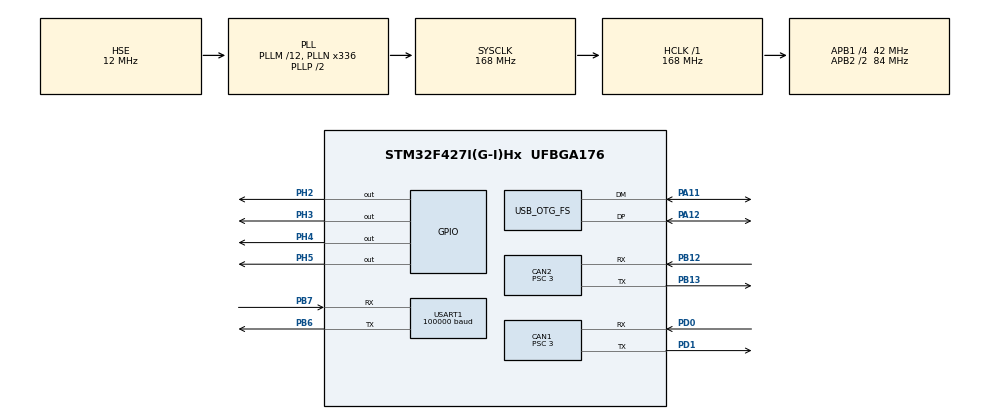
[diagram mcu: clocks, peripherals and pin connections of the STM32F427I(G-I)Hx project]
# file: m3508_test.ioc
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CAN1.BS1=CAN_BS1_10TQ
CAN1.BS2=CAN_BS2_3TQ
CAN1.CalculateBaudRate=1000000
CAN1.CalculateTimeBit=1000
CAN1.CalculateTimeQuantum=71.42857142857143
CAN1.Prescaler=3
CAN2.BS1=CAN_BS1_10TQ
CAN2.BS2=CAN_BS2_3TQ
CAN2.CalculateBaudRate=1000000
CAN2.CalculateTimeBit=1000
CAN2.CalculateTimeQuantum=71.42857142857143
CAN2.Prescaler=3
Dma.Request0=USART1_RX
Dma.USART1_RX.0.Direction=DMA_PERIPH_TO_MEMORY
Dma.USART1_RX.0.FIFOMode=DMA_FIFOMODE_DISABLE
Dma.USART1_RX.0.Instance=DMA2_Stream2
Dma.USART1_RX.0.MemDataAlignment=DMA_MDATAALIGN_BYTE
Dma.USART1_RX.0.MemInc=DMA_MINC_ENABLE
Dma.USART1_RX.0.Mode=DMA_NORMAL
Dma.USART1_RX.0.PeriphDataAlignment=DMA_PDATAALIGN_BYTE
Dma.USART1_RX.0.PeriphInc=DMA_PINC_DISABLE
Dma.USART1_RX.0.Priority=DMA_PRIORITY_HIGH
Mcu.Family=STM32F4
Mcu.Name=STM32F427I(G-I)Hx
Mcu.Package=UFBGA176
NVIC.CAN1_RX0_IRQn=true\:0\:0\:false\:false\:true\:true\:true\:true
NVIC.CAN1_RX1_IRQn=true\:0\:0\:false\:false\:true\:true\:true\:true
NVIC.CAN2_RX0_IRQn=true\:0\:0\:false\:false\:true\:true\:true\:true
NVIC.CAN2_RX1_IRQn=true\:0\:0\:false\:false\:true\:true\:true\:true
NVIC.DMA2_Stream2_IRQn=true\:0\:0\:false\:false\:true\:false\:true\:true
NVIC.OTG_FS_IRQn=true\:0\:0\:false\:false\:true\:false\:true\:true
NVIC.PriorityGroup=NVIC_PRIORITYGROUP_4
NVIC.USART1_IRQn=true\:0\:0\:false\:false\:true\:true\:true\:true
PA11.Mode=Device_Only
PA11.Signal=USB_OTG_FS_DM
PA12.Mode=Device_Only
PA12.Signal=USB_OTG_FS_DP
PA13.Mode=Serial_Wire
PA13.Signal=SYS_JTMS-SWDIO
PA14.Mode=Serial_Wire
PA14.Signal=SYS_JTCK-SWCLK
PB12.Mode=CAN_Activate
PB12.Signal=CAN2_RX
PB13.Mode=CAN_Activate
PB13.Signal=CAN2_TX
PB6.Mode=Asynchronous
PB6.Signal=USART1_TX
PB7.Mode=Asynchronous
PB7.Signal=USART1_RX
PD0.Mode=CAN_Activate
PD0.Signal=CAN1_RX
PD1.Mode=CAN_Activate
PD1.Signal=CAN1_TX
PH0/OSC_IN.Mode=HSE-External-Oscillator
PH0/OSC_IN.Signal=RCC_OSC_IN
PH1/OSC_OUT.Mode=HSE-External-Oscillator
PH1/OSC_OUT.Signal=RCC_OSC_OUT
PH2.GPIO_PuPd=GPIO_PULLUP
PH2.Signal=GPIO_Output
PH3.GPIO_PuPd=GPIO_PULLUP
PH3.Signal=GPIO_Output
PH4.GPIO_PuPd=GPIO_PULLUP
PH4.Signal=GPIO_Output
PH5.GPIO_PuPd=GPIO_PULLUP
PH5.Signal=GPIO_Output
ProjectManager.HeapSize=0x200
ProjectManager.StackSize=0x400
ProjectManager.TargetToolchain=CMake
RCC.48MHZClocksFreq_Value=48000000
RCC.AHBFreq_Value=168000000
RCC.APB1CLKDivider=RCC_HCLK_DIV4
RCC.APB1Freq_Value=42000000
RCC.APB1TimFreq_Value=84000000
RCC.APB2CLKDivider=RCC_HCLK_DIV2
RCC.APB2Freq_Value=84000000
RCC.APB2TimFreq_Value=168000000
RCC.CortexFreq_Value=168000000
RCC.HCLKFreq_Value=168000000
RCC.HSE_VALUE=12000000
RCC.HSI_VALUE=16000000
RCC.LSE_VALUE=32768
RCC.PLLM=12
RCC.PLLN=336
RCC.PLLQ=7
RCC.SYSCLKFreq_VALUE=168000000
RCC.SYSCLKSource=RCC_SYSCLKSOURCE_PLLCLK
RCC.VCOOutputFreq_Value=336000000
USART1.BaudRate=100000
USART1.Parity=PARITY_EVEN
USART1.StopBits=STOPBITS_2
USART1.VirtualMode=VM_ASYNC
USART1.WordLength=WORDLENGTH_9B
USB_DEVICE.CLASS_NAME_FS=CDC
USB_DEVICE.VirtualMode-CDC_FS=Cdc
USB_DEVICE.VirtualModeFS=Cdc_FS
USB_OTG_FS.VirtualMode=Device_Only
VP_USB_DEVICE_VS_USB_DEVICE_CDC_FS.Mode=CDC_FS
board=custom

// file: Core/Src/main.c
/* USER CODE BEGIN Header */
/**
  ******************************************************************************
  * @file           : main.c
  * @brief          : Main program body
  ******************************************************************************
  * @attention
  *
  * Copyright (c) 2025 STMicroelectronics.
  * All rights reserved.
  *
  * This software is licensed under terms that can be found in the LICENSE file
  * in the root directory of this software component.
  * If no LICENSE file comes with this software, it is provided AS-IS.
  *
  ******************************************************************************
  */
/* USER CODE END Header */
#include "main.h"
#include "can.h"
#include "dma.h"
#include "usart.h"
#include "usb_device.h"
#include "gpio.h"

/* USER CODE BEGIN Includes */
#include <string.h>
#include "sbus.h"
#include "usb.h"
#include "bsp_can.h"
#include "pid.h"
#include <math.h>
#include "m3508_motor.h"
/* USER CODE END Includes */

void SystemClock_Config(void);

/* USER CODE BEGIN 4 */
extern CAN_HandleTypeDef hcan1;
extern uint16_t rc_ch[2]; // rc_ch[0]: X轴（左右转），rc_ch[1]: Y轴（前进）

M3508_t motors[4];
int8_t dir[4] = { +1, +1, -1, -1 }; // 按照电机安装方向

// 映射函数
float mapf(float x, float in_min, float in_max, float out_min, float out_max)
{
  if (x < in_min) x = in_min;
  if (x > in_max) x = in_max;
  return (x - in_min) * (out_max - out_min) / (in_max - in_min) + out_min;
}

// 底盘运动控制
void Chassis_Control(float vx, float vy, float wz)
{
  // 麦克纳姆轮运动学分配 (X形布局)
  float v1 = +vx - vy - wz;  // 左前
  float v2 = +vx + vy - wz;  // 左后
  float v3 = +vx - vy + wz;  // 右后
  float v4 = +vx + vy + wz;  // 右前

  // 应用安装方向表（你定义的）
  M3508_SetTarget(&motors[0], dir[0] * v1);
  M3508_SetTarget(&motors[1], dir[1] * v2);
  M3508_SetTarget(&motors[2], dir[2] * v3);
  M3508_SetTarget(&motors[3], dir[3] * v4);
}

/* USER CODE END 4 */

int main(void)
{

  /* MCU Configuration--------------------------------------------------------*/

  /* Reset of all peripherals, Initializes the Flash interface and the Systick. */
  HAL_Init();

  /* Configure the system clock */
  SystemClock_Config();

  /* Initialize all configured peripherals */
  MX_GPIO_Init();
  MX_DMA_Init();
  MX_CAN1_Init();
  MX_CAN2_Init();
  MX_USB_DEVICE_Init();
  MX_USART1_UART_Init();
  /* USER CODE BEGIN 2 */
  SBUS_Init();
  rc.channels[0] = 1025;
  rc.channels[1] = 1025;
  rc.channels[2] = 240;
  rc.channels[3] = 1025;

  printf("M3508 Chassis Control (Single Y-axis Throttle)\r\n");

  M3508_InitAll(motors, &hcan1);

  float vx = 0, wz = 0, vy = 0;
  uint32_t last = HAL_GetTick();
  /* USER CODE END 2 */

  /* Infinite loop */
  /* USER CODE BEGIN WHILE */
  while (1)
  {
    if (HAL_GetTick() - last >= 1)
    {
      last = HAL_GetTick();

      // === 摇杆输入映射 ===
      vx = mapf(rc.channels[1], 240, 1800, -8000, +8000);  // 前后（通道2）
      vy = -mapf(rc.channels[0], 240, 1800, -8000, +8000);  // 左右（通道1）
      wz = mapf(rc.channels[3], 240, 1800, +8000, -8000);  // 旋转（通道3)

      // 死区处理
      if (fabs(vx) < 200) vx = 0;
      if (fabs(vy) < 200) vy = 0;
      if (fabs(wz) < 200) wz = 0;

      // === 综合运动控制 ===
      Chassis_Control(vx, vy, wz);

      // PID 更新并发送 CAN 帧
      M3508_UpdateAll(motors, 4);
    }
    /* USER CODE END WHILE */

  }
}

void SystemClock_Config(void)
{
  RCC_OscInitTypeDef RCC_OscInitStruct = {0};
  RCC_ClkInitTypeDef RCC_ClkInitStruct = {0};

  /** Configure the main internal regulator output voltage
  */
  __HAL_RCC_PWR_CLK_ENABLE();
  __HAL_PWR_VOLTAGESCALING_CONFIG(PWR_REGULATOR_VOLTAGE_SCALE1);

  /** Initializes the RCC Oscillators according to the specified parameters
  * in the RCC_OscInitTypeDef structure.
  */
  RCC_OscInitStruct.OscillatorType = RCC_OSCILLATORTYPE_HSE;
  RCC_OscInitStruct.HSEState = RCC_HSE_ON;
  RCC_OscInitStruct.PLL.PLLState = RCC_PLL_ON;
  RCC_OscInitStruct.PLL.PLLSource = RCC_PLLSOURCE_HSE;
  RCC_OscInitStruct.PLL.PLLM = 12;
  RCC_OscInitStruct.PLL.PLLN = 336;
  RCC_OscInitStruct.PLL.PLLP = RCC_PLLP_DIV2;
  RCC_OscInitStruct.PLL.PLLQ = 7;
  if (HAL_RCC_OscConfig(&RCC_OscInitStruct) != HAL_OK)
  {
    Error_Handler();
  }

  /** Initializes the CPU, AHB and APB buses clocks
  */
  RCC_ClkInitStruct.ClockType = RCC_CLOCKTYPE_HCLK|RCC_CLOCKTYPE_SYSCLK
                              |RCC_CLOCKTYPE_PCLK1|RCC_CLOCKTYPE_PCLK2;
  RCC_ClkInitStruct.SYSCLKSource = RCC_SYSCLKSOURCE_PLLCLK;
  RCC_ClkInitStruct.AHBCLKDivider = RCC_SYSCLK_DIV1;
  RCC_ClkInitStruct.APB1CLKDivider = RCC_HCLK_DIV4;
  RCC_ClkInitStruct.APB2CLKDivider = RCC_HCLK_DIV2;

  if (HAL_RCC_ClockConfig(&RCC_ClkInitStruct, FLASH_LATENCY_5) != HAL_OK)
  {
    Error_Handler();
  }
}

void Error_Handler(void)
{
  __disable_irq();
  while (1)
  {
  }
}
